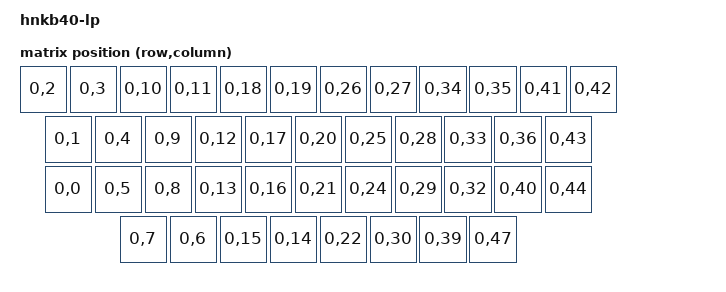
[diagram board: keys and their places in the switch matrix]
/*
 * Copyright (c) 2021 Nick Winans
 *
 * SPDX-License-Identifier: MIT
 */

/dts-v1/;
#include <nordic/nrf52840_qiaa.dtsi>

#include <dt-bindings/led/led.h>
#include <dt-bindings/zmk/matrix_transform.h>

#include <layouts/common/60percent/ansi.dtsi>

#include "hnkb40-pinctrl.dtsi"

/ {
    model = "hnkb40-lp";
    compatible = "hnkb40,lp";

    chosen {
        zephyr,code-partition = &code_partition;
        zephyr,sram = &sram0;
        zephyr,flash = &flash0;
        zmk,battery = &vbatt;
        zmk,kscan = &kscan0; //
        zmk,physical-layout = &layout_60_ansi;
        zmk,underglow = &led_strip;
    };

    default_transform: keymap_transform_0 {
        compatible = "zmk,matrix-transform";
        columns = <48>;
        rows = <1>;
        map = <
RC(0,2) RC(0,3) RC(0,10) RC(0,11) RC(0,18) RC(0,19) RC(0,26) RC(0,27) RC(0,34) RC(0,35) RC(0,41) RC(0,42)
RC(0,1)    RC(0,4) RC(0,9) RC(0,12) RC(0,17) RC(0,20) RC(0,25) RC(0,28) RC(0,33) RC(0,36)        RC(0,43)
RC(0,0)     RC(0,5) RC(0,8) RC(0,13) RC(0,16) RC(0,21) RC(0,24) RC(0,29) RC(0,32) RC(0,40)       RC(0,44)
    RC(0,7) RC(0,6) RC(0,15)         RC(0,14)            RC(0,22)            RC(0,30) RC(0,39) RC(0,47)
        >;
    };

    kscan0: kscan {
        compatible = "zmk,kscan-595a";
        wakeup-source;
        hc595a-ser-gpios = <&gpio1 14 GPIO_ACTIVE_HIGH>;
        hc595a-sck-gpios = <&gpio1 13 GPIO_ACTIVE_HIGH>;
        key-sense-gpios = <&gpio1 15 GPIO_ACTIVE_HIGH>;
        hc595a-count = <6>;
    };

// 已改
    leds {
        compatible = "gpio-leds";
        blue_led: led_0 {
            gpios = <&gpio1 12 GPIO_ACTIVE_HIGH>;
        };
    };

    // Node name must match original "EXT_POWER" label to preserve user settings.
    EXT_POWER {
        compatible = "zmk,ext-power-generic";
        control-gpios = <&gpio1 11 GPIO_ACTIVE_HIGH>;
    };

    vbatt: vbatt {
        compatible = "zmk,battery-voltage-divider";
        io-channels = <&adc 2>;
        output-ohms = <2000000>;
        full-ohms = <(2000000 + 806000)>;
    };
};

&adc {
    status = "okay";
};

&gpiote {
    status = "okay";
};

&gpio0 {
    status = "okay";
};

&gpio1 {
    status = "okay";
};

&spi3 {
    compatible = "nordic,nrf-spim";

    pinctrl-0 = <&spi3_default>;
    pinctrl-1 = <&spi3_sleep>;
    pinctrl-names = "default", "sleep";
    status = "okay";

    led_strip: ws2812@0 {
        compatible = "worldsemi,ws2812-spi";

        /* SPI */
        reg = <0>; /* ignored, but necessary for SPI bindings */
        spi-max-frequency = <4000000>;

        /* WS2812 */
        chain-length = <12>; /* LED strip length */
        spi-one-frame = <0x70>;
        spi-zero-frame = <0x40>;
        color-mapping = <LED_COLOR_ID_GREEN LED_COLOR_ID_RED LED_COLOR_ID_BLUE>;
    };
};

zephyr_udc0: &usbd {
    status = "okay";
};

&flash0 {
    /*
     * For more information, see:
     * http://docs.zephyrproject.org/latest/devices/dts/flash_partitions.html
     */
    partitions {
        compatible = "fixed-partitions";
        #address-cells = <1>;
        #size-cells = <1>;

        sd_partition: partition@0 {
            reg = <0x00000000 0x00001000>;
        };

        code_partition: partition@1000 {
            reg = <0x00001000 0x000d3000>;
        };

        /*
         * The flash starting at 0x000d4000 and ending at
         * 0x000f3fff is reserved for use by the application.
         */

        /*
         * Storage partition will be used by FCB/LittleFS/NVS
         * if enabled.
         */
        storage_partition: partition@d4000 {
            reg = <0x000d4000 0x00020000>;
        };

        boot_partition: partition@f4000 {
            reg = <0x000f4000 0x0000c000>;
        };
    };
};

&layout_60_ansi {
    transform = <&default_transform>;
};
